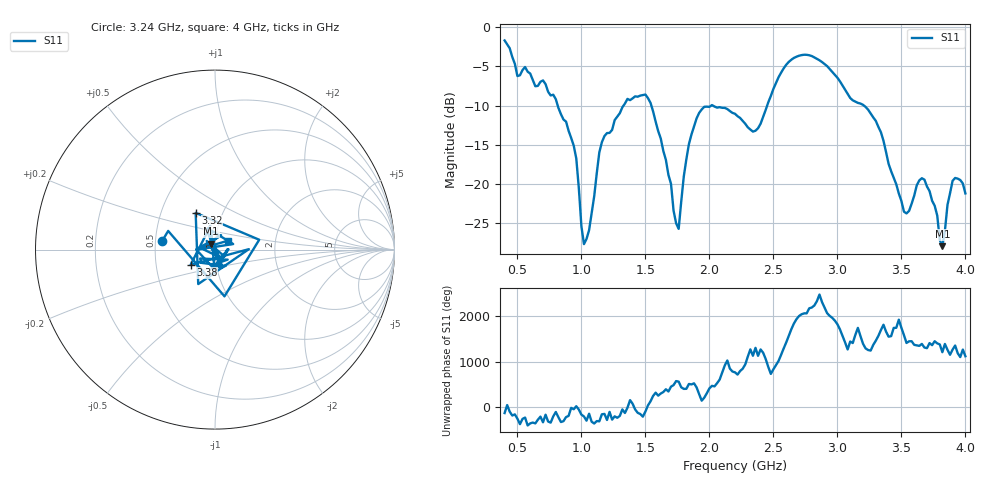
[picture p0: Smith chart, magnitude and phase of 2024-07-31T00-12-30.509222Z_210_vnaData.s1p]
!Created with skrf (http://scikit-rf.org).
# Hz S RI R 50.0
!freq ReS11 ImS11
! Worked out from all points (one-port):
!   181 points, 400 MHz to 4 GHz, reference 50 ohm
!   lowest |S11| = -27.9 dB at 3.82 GHz (marker M1), VSWR 1.08, Z = 47.8 + j3.23 ohm
!   |S11| at or under -10 dB: 814.7 MHz to 1.33 GHz (514.8 MHz wide, 48 % of centre); 1.546 GHz to 2.015 GHz (469 MHz wide, 26.3 % of centre); 3.207 GHz to end of sweep (the widest 3 of 4)
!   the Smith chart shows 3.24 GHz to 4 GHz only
!   S11 on the Smith chart (normalised r, x): 3.24 GHz: 0.54, +0.06; 3.32 GHz: 0.75, +0.32; 3.38 GHz: 0.75, -0.13; 4 GHz: 1.15, +0.11
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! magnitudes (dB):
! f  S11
! 400 MHz  -1.7
! 500 MHz  -6.3
! 700 MHz  -6.8
! 860 MHz  -11.8
! 960 MHz  -16.7
! 1.02 GHz  -27.7
! 1.06 GHz  -25.9
! 1.16 GHz  -14.7
! 1.3 GHz  -11.0
! 1.54 GHz  -9.7
! 1.76 GHz  -25.7
! 1.84 GHz  -14.9
! 1.92 GHz  -10.9
! 2.2 GHz  -11.1
! 2.36 GHz  -13.2
! 2.66 GHz  -3.9
! 2.88 GHz  -4.5
! 3.1 GHz  -9.0
! 3.24 GHz  -10.5
! 3.32 GHz  -12.7
! 3.38 GHz  -15.9
! 3.52 GHz  -23.5
! 3.56 GHz  -23.4
! 3.68 GHz  -19.4
! 3.76 GHz  -22.8
! 3.82 GHz  -27.9
! 3.9 GHz  -19.6
! 4 GHz  -21.2
